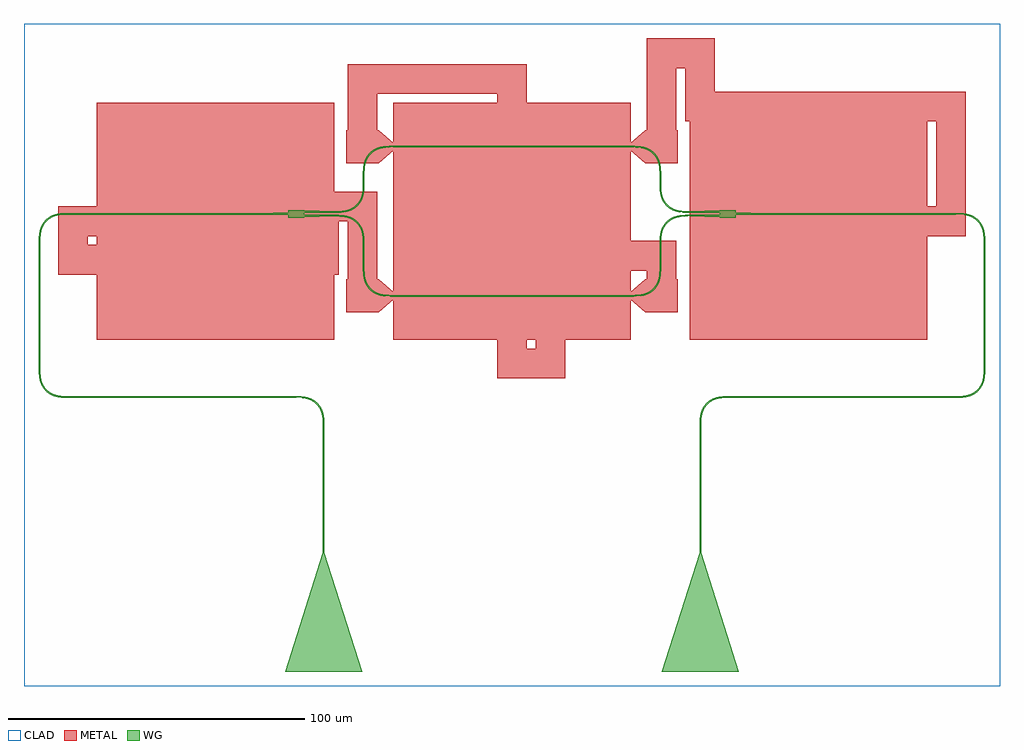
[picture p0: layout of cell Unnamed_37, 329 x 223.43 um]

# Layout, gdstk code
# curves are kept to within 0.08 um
from math import pi, radians
import gdstk
lib = gdstk.Library(unit=1e-6, precision=1e-09)
def R(c, l, rs):  # rectangles x0, y0, x1, y1
    for r in rs: c.add(gdstk.rectangle(r[:2], r[2:], *l))
def P(c, l, *ps):  # polygons
    for p in ps: c.add(gdstk.Polygon(p, *l))
WG = (1, 0)
CLAD = (2, 0)
METAL = (3, 0)

mmi1x2_gdsfactorypcompon = lib.new_cell('mmi1x2_gdsfactorypcomponentspmmispmmi1x2_WNone_WT1_LT10_1f097353')
P(mmi1x2_gdsfactorypcompon, WG, [(0,-1.25),(0,-0.5),(-10,-0.25),(-10,0.25),(0,0.5),(0,1.25),(5.5,1.25),(5.5,1.125),(15.5,0.875),(15.5,0.375),(5.5,0.125),(5.5,-0.125),(15.5,-0.375),(15.5,-0.875),(5.5,-1.125),(5.5,-1.25)])

bend_euler_gdsfactorypco = lib.new_cell('bend_euler_gdsfactorypcomponentspbendspbend_euler_RNone_387600b2')
P(bend_euler_gdsfactorypco, WG, [(0,-0.25),(0,0.25),(2.881,0.353),(3.952,0.52),(4.99,0.806),(6.431,1.505),(7.575,2.425),(8.495,3.569),(9.194,5.01),(9.48,6.048),(9.647,7.119),(9.75,10),(10.25,10),(10.158,7.205),(9.797,5.254),(9.457,4.312),(9.066,3.545),(8.5,2.715),(7.928,2.072),(7.285,1.5),(6.455,0.934),(5.688,0.543),(4.746,0.203),(2.795,-0.158)])

straight_gdsfactorypcomp = lib.new_cell('straight_gdsfactorypcomponentspwaveguidespstraight_L2_N_815d3d03')
R(straight_gdsfactorypcomp, WG, [(0,-0.25,2,0.25)])

c_straight_gdsfactorypcomp = lib.new_cell('straight_gdsfactorypcomponentspwaveguidespstraight_L7_N_ecd9aecc')
R(c_straight_gdsfactorypcomp, WG, [(0,-0.25,7,0.25)])

straight_heater_metal_un = lib.new_cell('straight_heater_metal_undercut_gdsfactorypcomponentspwa_9e5cde9a')
R(straight_heater_metal_un, WG, [(0,-0.25,80,0.25)])
R(straight_heater_metal_un, METAL, [(-15.9,-5.5,-4.9,5.5), (-15.9,-5.5,-4.9,5.5), (84.9,-5.5,95.9,5.5), (84.9,-5.5,95.9,5.5)])
P(straight_heater_metal_un, METAL, [(-15.9,-5.5),(-15.9,5.5),(-4.9,5.5),(0.1,1.25),(79.9,1.25),(84.9,5.5),(95.9,5.5),(95.9,-5.5),(84.9,-5.5),(79.9,-1.25),(0.1,-1.25),(-4.9,-5.5)])

mzi_gdsfactorypcomponent = lib.new_cell('mzi_gdsfactorypcomponentspmzispmzi_DL10_LY2_LX80_Bbend__c7438b15')
mzi_gdsfactorypcomponent.add(gdstk.Reference(mmi1x2_gdsfactorypcompon, (0,0)))
mzi_gdsfactorypcomponent.add(gdstk.Reference(bend_euler_gdsfactorypco, (15.5,-0.625), x_reflection=True))
mzi_gdsfactorypcomponent.add(gdstk.Reference(bend_euler_gdsfactorypco, (25.5,-17.625), rotation=3*pi/2))
mzi_gdsfactorypcomponent.add(gdstk.Reference(bend_euler_gdsfactorypco, (15.5,0.625)))
mzi_gdsfactorypcomponent.add(gdstk.Reference(bend_euler_gdsfactorypco, (35.5,22.625), rotation=pi))
mzi_gdsfactorypcomponent.add(gdstk.Reference(bend_euler_gdsfactorypco, (125.5,12.625), rotation=pi/2))
mzi_gdsfactorypcomponent.add(gdstk.Reference(bend_euler_gdsfactorypco, (125.5,10.625), rotation=3*pi/2))
mzi_gdsfactorypcomponent.add(gdstk.Reference(bend_euler_gdsfactorypco, (115.5,-27.625)))
mzi_gdsfactorypcomponent.add(gdstk.Reference(bend_euler_gdsfactorypco, (135.5,-0.625), rotation=pi))
mzi_gdsfactorypcomponent.add(gdstk.Reference(straight_gdsfactorypcomp, (25.5,10.625), rotation=pi/2))
mzi_gdsfactorypcomponent.add(gdstk.Reference(c_straight_gdsfactorypcomp, (25.5,-10.625), rotation=3*pi/2))
mzi_gdsfactorypcomponent.add(gdstk.Reference(straight_heater_metal_un, (35.5,22.625)))
mzi_gdsfactorypcomponent.add(gdstk.Reference(straight_heater_metal_un, (35.5,-27.625)))
mzi_gdsfactorypcomponent.add(gdstk.Reference(mmi1x2_gdsfactorypcompon, (151,0), rotation=pi, x_reflection=True))
mzi_gdsfactorypcomponent.add(gdstk.Reference(straight_gdsfactorypcomp, (125.5,10.625), rotation=pi/2))
mzi_gdsfactorypcomponent.add(gdstk.Reference(c_straight_gdsfactorypcomp, (125.5,-17.625), rotation=pi/2))

pad_gdsfactorypcomponent = lib.new_cell('pad_gdsfactorypcomponentsppadsppad_S80_80_LMTOP_BLNone__ea0497a0')
R(pad_gdsfactorypcomponent, METAL, [(-40,-40,40,40)])

array_gdsfactorypcompone = lib.new_cell('array_gdsfactorypcomponentspcontainersparray_component__8765215d')
r = gdstk.Reference(pad_gdsfactorypcomponent, (0,0)); r.repetition = gdstk.Repetition(3, 1, v1=(100,0), v2=(0,0)); array_gdsfactorypcompone.add(r)

wire_corner_gdsfactorypc = lib.new_cell('wire_corner_gdsfactorypcomponentspwaveguidespwire_CSmet_24e9560f')
R(wire_corner_gdsfactorypc, METAL, [(-5,-5,5,5)])

c_straight_gdsfactorypcomp_ = lib.new_cell('straight_gdsfactorypcomponentspwaveguidespstraight_L19p_43bc1a48')
R(c_straight_gdsfactorypcomp_, METAL, [(0,-5,19.625,5)])

c_straight_gdsfactorypcomp__ = lib.new_cell('straight_gdsfactorypcomponentspwaveguidespstraight_L3_N_0a3fab0b')
R(c_straight_gdsfactorypcomp__, METAL, [(0,-5,3,5)])

c_straight_gdsfactorypcomp___ = lib.new_cell('straight_gdsfactorypcomponentspwaveguidespstraight_L8_N_a9802efb')
R(c_straight_gdsfactorypcomp___, METAL, [(0,-5,8,5)])

c_straight_gdsfactorypcomp____ = lib.new_cell('straight_gdsfactorypcomponentspwaveguidespstraight_L74p_7589d4ba')
R(c_straight_gdsfactorypcomp____, METAL, [(0,-5,74.6,5)])

c_straight_gdsfactorypcomp_____ = lib.new_cell('straight_gdsfactorypcomponentspwaveguidespstraight_L27p_560cf09a')
R(c_straight_gdsfactorypcomp_____, METAL, [(0,-5,27.4,5)])

c_straight_gdsfactorypcomp______ = lib.new_cell('straight_gdsfactorypcomponentspwaveguidespstraight_L26p_3a0d954c')
R(c_straight_gdsfactorypcomp______, METAL, [(0,-5,26.375,5)])

c_straight_gdsfactorypcomp_______ = lib.new_cell('straight_gdsfactorypcomponentspwaveguidespstraight_L12p_cf2ec45d')
R(c_straight_gdsfactorypcomp_______, METAL, [(0,-5,12.375,5)])

c_straight_gdsfactorypcomp________ = lib.new_cell('straight_gdsfactorypcomponentspwaveguidespstraight_L40p_0404ad3c')
R(c_straight_gdsfactorypcomp________, METAL, [(0,-5,40.4,5)])

c_straight_gdsfactorypcomp_________ = lib.new_cell('straight_gdsfactorypcomponentspwaveguidespstraight_L21__553d81f6')
R(c_straight_gdsfactorypcomp_________, METAL, [(0,-5,21,5)])

c_straight_gdsfactorypcomp__________ = lib.new_cell('straight_gdsfactorypcomponentspwaveguidespstraight_L28p_06b3569c')
R(c_straight_gdsfactorypcomp__________, METAL, [(0,-5,28.625,5)])

mzi_pads_center_gdsfacto = lib.new_cell('mzi_pads_center_gdsfactorypcomponentspmzispmzi_pads_cen_b2a8f72c')
mzi_pads_center_gdsfacto.add(gdstk.Reference(mzi_gdsfactorypcomponent, (0,0)))
mzi_pads_center_gdsfacto.add(gdstk.Reference(array_gdsfactorypcompone, (-24.5,-2.5)))
mzi_pads_center_gdsfacto.add(gdstk.Reference(wire_corner_gdsfactorypc, (25.1,2.5), x_reflection=True))
mzi_pads_center_gdsfacto.add(gdstk.Reference(c_straight_gdsfactorypcomp_, (25.1,-22.125), rotation=pi/2))
mzi_pads_center_gdsfacto.add(gdstk.Reference(wire_corner_gdsfactorypc, (12.1,2.5), rotation=pi/2, x_reflection=True))
mzi_pads_center_gdsfacto.add(gdstk.Reference(c_straight_gdsfactorypcomp__, (20.1,2.5), rotation=pi))
mzi_pads_center_gdsfacto.add(gdstk.Reference(wire_corner_gdsfactorypc, (12.1,-15.5)))
mzi_pads_center_gdsfacto.add(gdstk.Reference(c_straight_gdsfactorypcomp___, (12.1,-2.5), rotation=3*pi/2))
mzi_pads_center_gdsfacto.add(gdstk.Reference(wire_corner_gdsfactorypc, (-72.5,-15.5), rotation=3*pi/2))
mzi_pads_center_gdsfacto.add(gdstk.Reference(c_straight_gdsfactorypcomp____, (7.1,-15.5), rotation=pi))
mzi_pads_center_gdsfacto.add(gdstk.Reference(wire_corner_gdsfactorypc, (-72.5,-2.5), rotation=pi))
mzi_pads_center_gdsfacto.add(gdstk.Reference(c_straight_gdsfactorypcomp__, (-72.5,-10.5), rotation=pi/2))
mzi_pads_center_gdsfacto.add(gdstk.Reference(c_straight_gdsfactorypcomp__, (-67.5,-2.5)))
mzi_pads_center_gdsfacto.add(gdstk.Reference(wire_corner_gdsfactorypc, (125.9,-14.125), x_reflection=True))
mzi_pads_center_gdsfacto.add(gdstk.Reference(c_straight_gdsfactorypcomp__, (125.9,-22.125), rotation=pi/2))
mzi_pads_center_gdsfacto.add(gdstk.Reference(wire_corner_gdsfactorypc, (88.5,-14.125), rotation=pi/2, x_reflection=True))
mzi_pads_center_gdsfacto.add(gdstk.Reference(c_straight_gdsfactorypcomp_____, (120.9,-14.125), rotation=pi))
mzi_pads_center_gdsfacto.add(gdstk.Reference(wire_corner_gdsfactorypc, (88.5,-50.5)))
mzi_pads_center_gdsfacto.add(gdstk.Reference(c_straight_gdsfactorypcomp______, (88.5,-19.125), rotation=3*pi/2))
mzi_pads_center_gdsfacto.add(gdstk.Reference(wire_corner_gdsfactorypc, (75.5,-50.5), rotation=3*pi/2))
mzi_pads_center_gdsfacto.add(gdstk.Reference(c_straight_gdsfactorypcomp__, (83.5,-50.5), rotation=pi))
mzi_pads_center_gdsfacto.add(gdstk.Reference(c_straight_gdsfactorypcomp__, (75.5,-45.5), rotation=pi/2))
mzi_pads_center_gdsfacto.add(gdstk.Reference(wire_corner_gdsfactorypc, (25.1,45.5), rotation=pi))
mzi_pads_center_gdsfacto.add(gdstk.Reference(c_straight_gdsfactorypcomp_______, (25.1,28.125), rotation=pi/2))
mzi_pads_center_gdsfacto.add(gdstk.Reference(wire_corner_gdsfactorypc, (75.5,45.5), rotation=pi/2))
mzi_pads_center_gdsfacto.add(gdstk.Reference(c_straight_gdsfactorypcomp________, (30.1,45.5)))
mzi_pads_center_gdsfacto.add(gdstk.Reference(c_straight_gdsfactorypcomp__, (75.5,40.5), rotation=3*pi/2))
mzi_pads_center_gdsfacto.add(gdstk.Reference(wire_corner_gdsfactorypc, (125.9,54.125), rotation=pi))
mzi_pads_center_gdsfacto.add(gdstk.Reference(c_straight_gdsfactorypcomp_________, (125.9,28.125), rotation=pi/2))
mzi_pads_center_gdsfacto.add(gdstk.Reference(wire_corner_gdsfactorypc, (138.9,54.125), rotation=pi/2))
mzi_pads_center_gdsfacto.add(gdstk.Reference(c_straight_gdsfactorypcomp__, (130.9,54.125)))
mzi_pads_center_gdsfacto.add(gdstk.Reference(wire_corner_gdsfactorypc, (138.9,36.125), rotation=pi, x_reflection=True))
mzi_pads_center_gdsfacto.add(gdstk.Reference(c_straight_gdsfactorypcomp___, (138.9,49.125), rotation=3*pi/2))
mzi_pads_center_gdsfacto.add(gdstk.Reference(wire_corner_gdsfactorypc, (223.5,36.125), rotation=pi/2))
mzi_pads_center_gdsfacto.add(gdstk.Reference(c_straight_gdsfactorypcomp____, (143.9,36.125)))
mzi_pads_center_gdsfacto.add(gdstk.Reference(wire_corner_gdsfactorypc, (223.5,-2.5)))
mzi_pads_center_gdsfacto.add(gdstk.Reference(c_straight_gdsfactorypcomp__________, (223.5,31.125), rotation=3*pi/2))
mzi_pads_center_gdsfacto.add(gdstk.Reference(c_straight_gdsfactorypcomp__, (218.5,-2.5), rotation=pi))

grating_coupler_elliptic = lib.new_cell('grating_coupler_elliptical_trenches_gdsfactorypcomponen_c91c3207')
P(grating_coupler_elliptic, WG, [(40.551,-12.973),(0.471,-0.25),(0.471,0.25),(40.551,12.973)])

c_straight_gdsfactorypcomp___________ = lib.new_cell('straight_gdsfactorypcomponentspwaveguidespstraight_L63p_d1e9c42d')
R(c_straight_gdsfactorypcomp___________, WG, [(0,-0.25,63.75,0.25)])

c_straight_gdsfactorypcomp____________ = lib.new_cell('straight_gdsfactorypcomponentspwaveguidespstraight_L41p_091a85d5')
R(c_straight_gdsfactorypcomp____________, WG, [(0,-0.25,41.75,0.25)])

c_straight_gdsfactorypcomp_____________ = lib.new_cell('straight_gdsfactorypcomponentspwaveguidespstraight_L75p_dad097dc')
R(c_straight_gdsfactorypcomp_____________, WG, [(0,-0.25,75.75,0.25)])

c_straight_gdsfactorypcomp______________ = lib.new_cell('straight_gdsfactorypcomponentspwaveguidespstraight_L42p_7e8ebc6f')
R(c_straight_gdsfactorypcomp______________, WG, [(0,-0.25,42.471,0.25)])

unnamed_37 = lib.new_cell('Unnamed_37')
R(unnamed_37, CLAD, [(-89,-159.301,240,64.125)])
unnamed_37.add(gdstk.Reference(mzi_pads_center_gdsfacto, (0,0)))
unnamed_37.add(gdstk.Reference(grating_coupler_elliptic, (12,-113.75), rotation=3*pi/2))
unnamed_37.add(gdstk.Reference(grating_coupler_elliptic, (139,-113.75), rotation=3*pi/2))
unnamed_37.add(gdstk.Reference(bend_euler_gdsfactorypco, (-83.75,-10), rotation=pi/2, x_reflection=True))
unnamed_37.add(gdstk.Reference(c_straight_gdsfactorypcomp___________, (-10,0), rotation=pi))
unnamed_37.add(gdstk.Reference(bend_euler_gdsfactorypco, (-73.75,-61.75), rotation=pi, x_reflection=True))
unnamed_37.add(gdstk.Reference(c_straight_gdsfactorypcomp____________, (-83.75,-10), rotation=3*pi/2))
unnamed_37.add(gdstk.Reference(bend_euler_gdsfactorypco, (12,-71.75), rotation=pi/2))
unnamed_37.add(gdstk.Reference(c_straight_gdsfactorypcomp_____________, (-73.75,-61.75)))
unnamed_37.add(gdstk.Reference(c_straight_gdsfactorypcomp______________, (12,-71.75), rotation=3*pi/2))
unnamed_37.add(gdstk.Reference(bend_euler_gdsfactorypco, (234.75,-10), rotation=pi/2))
unnamed_37.add(gdstk.Reference(c_straight_gdsfactorypcomp___________, (161,0)))
unnamed_37.add(gdstk.Reference(bend_euler_gdsfactorypco, (224.75,-61.75)))
unnamed_37.add(gdstk.Reference(c_straight_gdsfactorypcomp____________, (234.75,-10), rotation=3*pi/2))
unnamed_37.add(gdstk.Reference(bend_euler_gdsfactorypco, (139,-71.75), rotation=pi/2, x_reflection=True))
unnamed_37.add(gdstk.Reference(c_straight_gdsfactorypcomp_____________, (224.75,-61.75), rotation=pi))
unnamed_37.add(gdstk.Reference(c_straight_gdsfactorypcomp______________, (139,-71.75), rotation=3*pi/2))

lib.write_gds('Unnamed_37.gds')
